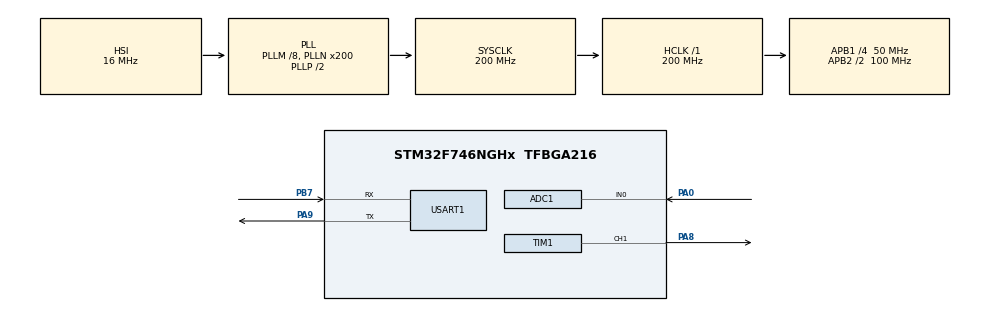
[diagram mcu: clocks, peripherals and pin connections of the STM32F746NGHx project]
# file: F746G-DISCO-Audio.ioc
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ADC1.Channel-0\#ChannelRegularConversion=ADC_CHANNEL_0
ADC1.ClockPrescaler=ADC_CLOCK_SYNC_PCLK_DIV4
ADC1.ContinuousConvMode=DISABLE
ADC1.DMAContinuousRequests=ENABLE
ADC1.ExternalTrigConv=ADC_EXTERNALTRIGCONV_T8_TRGO
ADC1.NbrOfConversion=1
ADC1.NbrOfConversionFlag=1
ADC1.Rank-0\#ChannelRegularConversion=1
ADC1.Resolution=ADC_RESOLUTION_12B
ADC1.SamplingTime-0\#ChannelRegularConversion=ADC_SAMPLETIME_3CYCLES
ADC1.master=1
Dma.ADC1.0.Direction=DMA_PERIPH_TO_MEMORY
Dma.ADC1.0.FIFOMode=DMA_FIFOMODE_DISABLE
Dma.ADC1.0.Instance=DMA2_Stream0
Dma.ADC1.0.MemDataAlignment=DMA_MDATAALIGN_HALFWORD
Dma.ADC1.0.MemInc=DMA_MINC_ENABLE
Dma.ADC1.0.Mode=DMA_CIRCULAR
Dma.ADC1.0.PeriphDataAlignment=DMA_PDATAALIGN_HALFWORD
Dma.ADC1.0.PeriphInc=DMA_PINC_DISABLE
Dma.ADC1.0.Priority=DMA_PRIORITY_LOW
Dma.Request0=ADC1
Dma.Request1=TIM1_CH1
Dma.TIM1_CH1.1.Direction=DMA_MEMORY_TO_PERIPH
Dma.TIM1_CH1.1.FIFOMode=DMA_FIFOMODE_DISABLE
Dma.TIM1_CH1.1.Instance=DMA2_Stream3
Dma.TIM1_CH1.1.MemDataAlignment=DMA_MDATAALIGN_HALFWORD
Dma.TIM1_CH1.1.MemInc=DMA_MINC_ENABLE
Dma.TIM1_CH1.1.Mode=DMA_CIRCULAR
Dma.TIM1_CH1.1.PeriphDataAlignment=DMA_PDATAALIGN_HALFWORD
Dma.TIM1_CH1.1.PeriphInc=DMA_PINC_DISABLE
Dma.TIM1_CH1.1.Priority=DMA_PRIORITY_LOW
Mcu.Family=STM32F7
Mcu.Name=STM32F746NGHx
Mcu.Package=TFBGA216
NVIC.DMA2_Stream0_IRQn=true\:0\:0\:false\:false\:true\:false\:true\:true
NVIC.DMA2_Stream3_IRQn=true\:0\:0\:false\:false\:true\:false\:true\:true
NVIC.PriorityGroup=NVIC_PRIORITYGROUP_4
NVIC.TIM8_TRG_COM_TIM14_IRQn=true\:0\:0\:false\:false\:true\:true\:true\:true
PA0/WKUP.Signal=ADCx_IN0
PA8.Signal=S_TIM1_CH1
PA9.Mode=Asynchronous
PA9.Signal=USART1_TX
PB7.Mode=Asynchronous
PB7.Signal=USART1_RX
PH0/OSC_IN.Mode=HSE-External-Oscillator
PH0/OSC_IN.Signal=RCC_OSC_IN
PH1/OSC_OUT.Mode=HSE-External-Oscillator
PH1/OSC_OUT.Signal=RCC_OSC_OUT
ProjectManager.HeapSize=0x200
ProjectManager.StackSize=0x400
ProjectManager.TargetToolchain=STM32CubeIDE
RCC.AHBFreq_Value=200000000
RCC.APB1CLKDivider=RCC_HCLK_DIV4
RCC.APB1Freq_Value=50000000
RCC.APB1TimFreq_Value=100000000
RCC.APB2CLKDivider=RCC_HCLK_DIV2
RCC.APB2Freq_Value=100000000
RCC.APB2TimFreq_Value=200000000
RCC.CortexFreq_Value=200000000
RCC.HCLKFreq_Value=200000000
RCC.HSE_VALUE=25000000
RCC.HSI_VALUE=16000000
RCC.LSE_VALUE=32768
RCC.PLLM=8
RCC.PLLN=200
RCC.PLLSourceVirtual=RCC_PLLSOURCE_HSI
RCC.SYSCLKFreq_VALUE=200000000
RCC.SYSCLKSource=RCC_SYSCLKSOURCE_PLLCLK
RCC.USBFreq_Value=200000000
RCC.VCOOutputFreq_Value=400000000
SH.ADCx_IN0.0=ADC1_IN0,IN0
SH.S_TIM1_CH1.0=TIM1_CH1,PWM Generation1 CH1
TIM1.Channel-PWM\ Generation1\ CH1=TIM_CHANNEL_1
TIM1.CounterMode=TIM_COUNTERMODE_UP
TIM1.Period=227 - 1
TIM1.Prescaler=0
TIM1.Pulse-PWM\ Generation1\ CH1=0
TIM1.RepetitionCounter=20 - 1
TIM8.CounterMode=TIM_COUNTERMODE_DOWN
TIM8.Period=227 - 1
TIM8.Prescaler=20 - 1
TIM8.TIM_MasterOutputTrigger=TIM_TRGO_UPDATE
USART1.Parity=PARITY_NONE
USART1.VirtualMode-Asynchronous=VM_ASYNC
VP_TIM1_VS_ClockSourceINT.Mode=Internal
VP_TIM8_VS_ClockSourceINT.Mode=Internal
board=STM32F746G-DISCO

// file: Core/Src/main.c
/* USER CODE BEGIN Header */
/**
  ******************************************************************************
  * @file           : main.c
  * @brief          : Main program body
  ******************************************************************************
  * @attention
  *
  * Copyright (c) 2024 STMicroelectronics.
  * All rights reserved.
  *
  * This software is licensed under terms that can be found in the LICENSE file
  * in the root directory of this software component.
  * If no LICENSE file comes with this software, it is provided AS-IS.
  *
  ******************************************************************************
  */

#pragma ide diagnostic ignored "EndlessLoop"

/* USER CODE END Header */
#include "main.h"
#include "adc.h"
#include "dma.h"
#include "tim.h"
#include "usart.h"
#include "gpio.h"

/* USER CODE BEGIN Includes */
#include "stdlib.h"
#include "string.h"
/* USER CODE END Includes */

/* USER CODE BEGIN PD */
#define BUF_LEN 16
/* USER CODE END PD */

/* USER CODE BEGIN PV */
volatile uint16_t adc_buf[BUF_LEN];
uint16_t pwm_buf[BUF_LEN] = {0};
/* USER CODE END PV */

void SystemClock_Config(void);
/* USER CODE BEGIN PFP */
void processBuffer(const uint16_t* input, uint16_t* output, size_t bufferLength);
/* USER CODE END PFP */

int main(void)
{

  /* MCU Configuration--------------------------------------------------------*/

  /* Reset of all peripherals, Initializes the Flash interface and the Systick. */
  HAL_Init();

  /* Configure the system clock */
  SystemClock_Config();

  /* Initialize all configured peripherals */
  MX_GPIO_Init();
  MX_DMA_Init();
  MX_ADC1_Init();
  MX_USART1_UART_Init();
  MX_TIM8_Init();
  MX_TIM1_Init();
  /* USER CODE BEGIN 2 */

    HAL_TIM_Base_Start(&htim8);
    HAL_ADC_Start_DMA(&hadc1, (uint32_t*)adc_buf, BUF_LEN);

  /* USER CODE END 2 */

  /* Infinite loop */
    while (1) {

    }
}

void SystemClock_Config(void)
{
  RCC_OscInitTypeDef RCC_OscInitStruct = {0};
  RCC_ClkInitTypeDef RCC_ClkInitStruct = {0};

  /** Configure the main internal regulator output voltage
  */
  __HAL_RCC_PWR_CLK_ENABLE();
  __HAL_PWR_VOLTAGESCALING_CONFIG(PWR_REGULATOR_VOLTAGE_SCALE1);

  /** Initializes the RCC Oscillators according to the specified parameters
  * in the RCC_OscInitTypeDef structure.
  */
  RCC_OscInitStruct.OscillatorType = RCC_OSCILLATORTYPE_HSI;
  RCC_OscInitStruct.HSIState = RCC_HSI_ON;
  RCC_OscInitStruct.HSICalibrationValue = RCC_HSICALIBRATION_DEFAULT;
  RCC_OscInitStruct.PLL.PLLState = RCC_PLL_ON;
  RCC_OscInitStruct.PLL.PLLSource = RCC_PLLSOURCE_HSI;
  RCC_OscInitStruct.PLL.PLLM = 8;
  RCC_OscInitStruct.PLL.PLLN = 200;
  RCC_OscInitStruct.PLL.PLLP = RCC_PLLP_DIV2;
  RCC_OscInitStruct.PLL.PLLQ = 2;
  if (HAL_RCC_OscConfig(&RCC_OscInitStruct) != HAL_OK)
  {
    Error_Handler();
  }

  /** Activate the Over-Drive mode
  */
  if (HAL_PWREx_EnableOverDrive() != HAL_OK)
  {
    Error_Handler();
  }

  /** Initializes the CPU, AHB and APB buses clocks
  */
  RCC_ClkInitStruct.ClockType = RCC_CLOCKTYPE_HCLK|RCC_CLOCKTYPE_SYSCLK
                              |RCC_CLOCKTYPE_PCLK1|RCC_CLOCKTYPE_PCLK2;
  RCC_ClkInitStruct.SYSCLKSource = RCC_SYSCLKSOURCE_PLLCLK;
  RCC_ClkInitStruct.AHBCLKDivider = RCC_SYSCLK_DIV1;
  RCC_ClkInitStruct.APB1CLKDivider = RCC_HCLK_DIV4;
  RCC_ClkInitStruct.APB2CLKDivider = RCC_HCLK_DIV2;

  if (HAL_RCC_ClockConfig(&RCC_ClkInitStruct, FLASH_LATENCY_6) != HAL_OK)
  {
    Error_Handler();
  }
}

/* USER CODE BEGIN 4 */

// Callback first half
void HAL_ADC_ConvHalfCpltCallback(ADC_HandleTypeDef* hadc) {
    static uint8_t pwmStarted = 0;
    char msg[20] = "first buffer:\r\n\0";
    HAL_UART_Transmit(&huart1, (uint8_t*)msg, strlen(msg), HAL_MAX_DELAY);

    for (int i = 0; i < BUF_LEN / 2; i++) {
        char value[4];
        itoa(adc_buf[i], value, 10);
        strcat(value, "\r\n");
        HAL_UART_Transmit(&huart1, (uint8_t*)value, strlen(value), HAL_MAX_DELAY);
    }

    processBuffer((uint16_t*)adc_buf, pwm_buf, BUF_LEN / 2);

    if (!pwmStarted) {
        HAL_TIM_PWM_Start_DMA(&htim1, TIM_CHANNEL_1, (uint32_t*)pwm_buf, BUF_LEN);
        pwmStarted++;
    }

    strcpy(msg, "first buffer out:\r\n\0");
    HAL_UART_Transmit(&huart1, (uint8_t*)msg, strlen(msg), HAL_MAX_DELAY);

    for (int i = 0; i < BUF_LEN / 2; i++) {
        char value[4];
        itoa(pwm_buf[i], value, 10);
        strcat(value, "\r\n");
        HAL_UART_Transmit(&huart1, (uint8_t*)value, strlen(value), HAL_MAX_DELAY);
    }
}

// Callback second half
void HAL_ADC_ConvCpltCallback(ADC_HandleTypeDef* hadc) {
/*
    char msg[16] = "second buffer\r\n\0";
    HAL_UART_Transmit(&huart1, (uint8_t*)msg, strlen(msg), HAL_MAX_DELAY);

    for (int i = BUF_LEN / 2; i < BUF_LEN; i++) {
        char value[4];
        itoa(adc_buf[i], value, 10);
        strcat(value, "\r\n");
        HAL_UART_Transmit(&huart1, (uint8_t*)value, strlen(value), HAL_MAX_DELAY);
    }
*/

    processBuffer((uint16_t*)(adc_buf + BUF_LEN / 2), (uint16_t*)(pwm_buf + BUF_LEN / 2), BUF_LEN / 2);
}

void processBuffer(const uint16_t* input, uint16_t* output, size_t bufferLength) {
    for (int i = 0; i < bufferLength; i++) {
        output[i] = (uint16_t)(((uint32_t)input[i]) * 227UL / 4096UL);
        // output[i] = (uint16_t)(((float)(input[i])) / 4095.0f * 227.0f);
    }
}

/* USER CODE END 4 */

void Error_Handler(void)
{
    __disable_irq();
    while (1) {
    }
}
